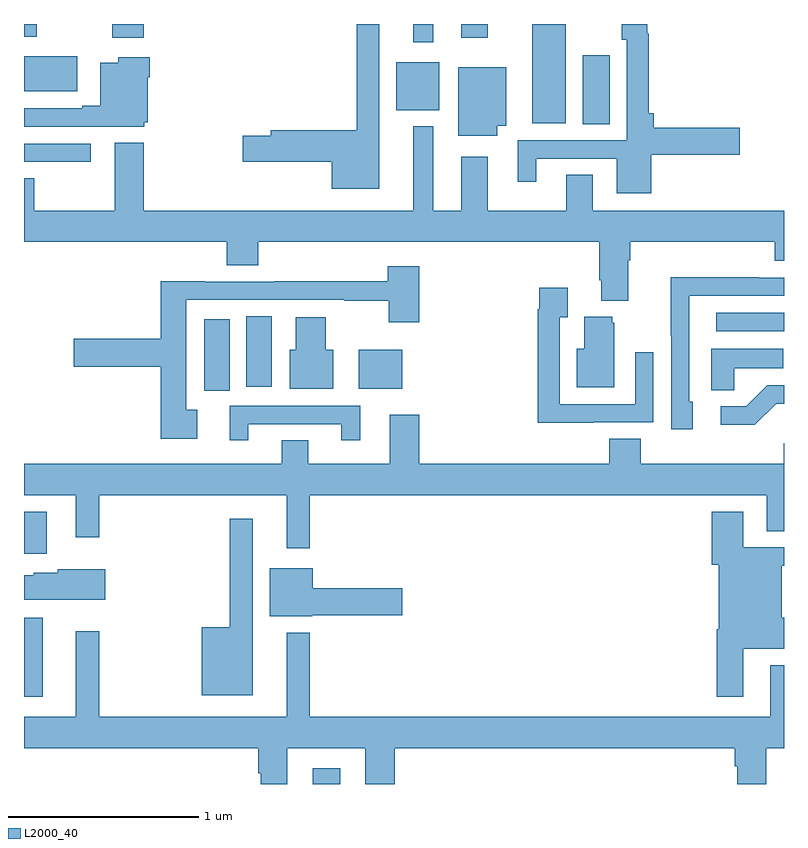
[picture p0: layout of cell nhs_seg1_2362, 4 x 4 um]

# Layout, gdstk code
import gdstk
lib = gdstk.Library(unit=1e-6, precision=1e-09)
def R(c, l, rs):  # rectangles x0, y0, x1, y1
    for r in rs: c.add(gdstk.rectangle(r[:2], r[2:], *l))
def P(c, l, *ps):  # polygons
    for p in ps: c.add(gdstk.Polygon(p, *l))
L2000_40 = (2000, 40)

nhs_seg1_2362 = lib.new_cell('nhs_seg1_2362')
R(nhs_seg1_2362, L2000_40, [(240.521,562.199,240.664,562.282), (239,562.659,239.098,563.074), (239,563.412,239.119,563.632), (239.948,564.27,240.082,564.646), (240.761,564.278,240.991,564.484), (240.17,564.291,240.304,564.662), (242.643,564.582,243,564.678), (239,565.473,239.35,565.569), (241.94,565.672,242.083,566.035), (241.676,565.676,241.852,566.199), (240.959,565.745,241.186,565.999), (241.049,566.103,241.153,566.199), (239.465,566.127,239.63,566.199), (241.301,566.127,241.441,566.199), (239,566.133,239.068,566.199)])
P(nhs_seg1_2362, L2000_40, [(240.871,566.199),(240.75,566.199),(240.75,565.64),(240.299,565.64),(240.299,565.61),(240.15,565.61),(240.15,565.475),(240.62,565.475),(240.62,565.331),(240.871,565.331)],
  [(242.302,565.51),(242.767,565.51),(242.767,565.652),(242.315,565.652),(242.315,565.729),(242.288,565.729),(242.288,566.147),(242.281,566.147),(242.281,566.199),(242.146,566.199),(242.146,566.115),(242.172,566.115),(242.172,565.587),(241.598,565.587),(241.598,565.368),(241.696,565.368),(241.696,565.491),(242.12,565.491),(242.12,565.307),(242.302,565.307)],
  [(239.177,565.845),(239.28,565.845),(239.28,566.029),(239,566.029),(239,565.844),(239.177,565.844)],
  [(239.634,565.683),(239.65,565.683),(239.65,565.919),(239.663,565.919),(239.663,566.023),(239.496,566.023),(239.496,565.996),(239.402,565.996),(239.402,565.769),(239.306,565.769),(239.306,565.755),(239,565.755),(239,565.659),(239.634,565.659)],
  [(241.492,565.664),(241.537,565.664),(241.537,565.972),(241.286,565.972),(241.286,565.61),(241.492,565.61)],
  [(242.179,564.956),(242.192,564.956),(242.192,565.052),(242.951,565.052),(242.951,564.953),(243,564.953),(243,565.216),(241.993,565.216),(241.993,565.406),(241.853,565.406),(241.853,565.216),(241.441,565.216),(241.441,565.501),(241.301,565.501),(241.301,565.216),(241.153,565.216),(241.153,565.66),(241.049,565.66),(241.049,565.216),(239.63,565.216),(239.63,565.573),(239.477,565.573),(239.477,565.216),(239.055,565.216),(239.055,565.388),(239,565.388),(239,565.052),(240.068,565.052),(240.068,564.928),(240.233,564.928),(240.233,565.052),(242.027,565.052),(242.027,564.85),(242.039,564.85),(242.039,564.743),(242.179,564.743)],
  [(239.911,564.17),(239.854,564.17),(239.854,564.747),(240.685,564.747),(240.685,564.742),(240.919,564.742),(240.919,564.63),(241.079,564.63),(241.079,564.925),(240.914,564.925),(240.914,564.845),(240.316,564.845),(240.316,564.843),(239.95,564.843),(239.95,564.845),(239.72,564.845),(239.72,564.542),(239.262,564.542),(239.262,564.395),(239.72,564.395),(239.72,564.017),(239.911,564.017)],
  [(242.521,564.21),(242.502,564.21),(242.502,564.768),(243,564.768),(243,564.864),(242.867,564.864),(242.867,564.866),(242.404,564.866),(242.404,564.559),(242.406,564.559),(242.406,564.066),(242.521,564.066)],
  [(241.997,564.102),(242.313,564.102),(242.313,564.472),(242.217,564.472),(242.217,564.198),(241.821,564.198),(241.821,564.655),(241.861,564.655),(241.861,564.811),(241.713,564.811),(241.713,564.698),(241.705,564.698),(241.705,564.101),(241.997,564.101)],
  [(242.107,564.627),(242.096,564.627),(242.096,564.658),(241.949,564.658),(241.949,564.49),(241.91,564.49),(241.91,564.287),(242.107,564.287)],
  [(240.628,564.484),(240.589,564.484),(240.589,564.655),(240.431,564.655),(240.431,564.484),(240.398,564.484),(240.398,564.278),(240.628,564.278)],
  [(242.739,564.386),(242.996,564.386),(242.996,564.49),(242.618,564.49),(242.618,564.271),(242.739,564.271)],
  [(242.958,564.201),(243,564.201),(243,564.297),(242.912,564.297),(242.801,564.186),(242.667,564.186),(242.667,564.089),(242.845,564.089)],
  [(240.181,564.093),(240.671,564.093),(240.671,564.009),(240.769,564.009),(240.769,564.189),(240.083,564.189),(240.083,564.009),(240.181,564.009)],
  [(240.505,563.72),(242.909,563.72),(242.909,563.53),(243,563.53),(243,563.993),(242.999,563.993),(242.999,563.884),(242.246,563.884),(242.246,564.017),(242.081,564.017),(242.081,563.884),(241.079,563.884),(241.079,564.142),(240.926,564.142),(240.926,563.884),(240.496,563.884),(240.496,564.008),(240.356,564.008),(240.356,563.884),(239,563.884),(239,563.72),(239.273,563.72),(239.273,563.499),(239.395,563.499),(239.395,563.72),(240.383,563.72),(240.383,563.439),(240.505,563.439)],
  [(242.785,562.91),(243,562.91),(243,563.074),(242.989,563.074),(242.989,563.348),(243,563.348),(243,563.445),(242.785,563.445),(242.785,563.632),(242.621,563.632),(242.621,563.352),(242.657,563.352),(242.657,563.014),(242.645,563.014),(242.645,562.659),(242.785,562.659)],
  [(240.205,563.596),(240.084,563.596),(240.084,563.023),(239.936,563.023),(239.936,562.667),(240.205,562.667)],
  [(240.516,563.087),(240.991,563.087),(240.991,563.229),(240.52,563.229),(240.52,563.335),(240.293,563.335),(240.293,563.081),(240.516,563.081)],
  [(239.428,563.329),(239.178,563.329),(239.178,563.311),(239.052,563.311),(239.052,563.297),(239,563.297),(239,563.168),(239.428,563.168)],
  [(240.385,562.388),(240.797,562.388),(240.797,562.199),(240.95,562.199),(240.95,562.388),(242.741,562.388),(242.741,562.292),(242.753,562.292),(242.753,562.199),(242.906,562.199),(242.906,562.388),(243,562.388),(243,562.825),(242.927,562.825),(242.927,562.552),(240.505,562.552),(240.505,562.996),(240.383,562.996),(240.383,562.552),(239.395,562.552),(239.395,563.002),(239.273,563.002),(239.273,562.552),(239,562.552),(239,562.388),(240.233,562.388),(240.233,562.255),(240.245,562.255),(240.245,562.199),(240.385,562.199)])

lib.write_gds('nhs_seg1_2362.gds')
